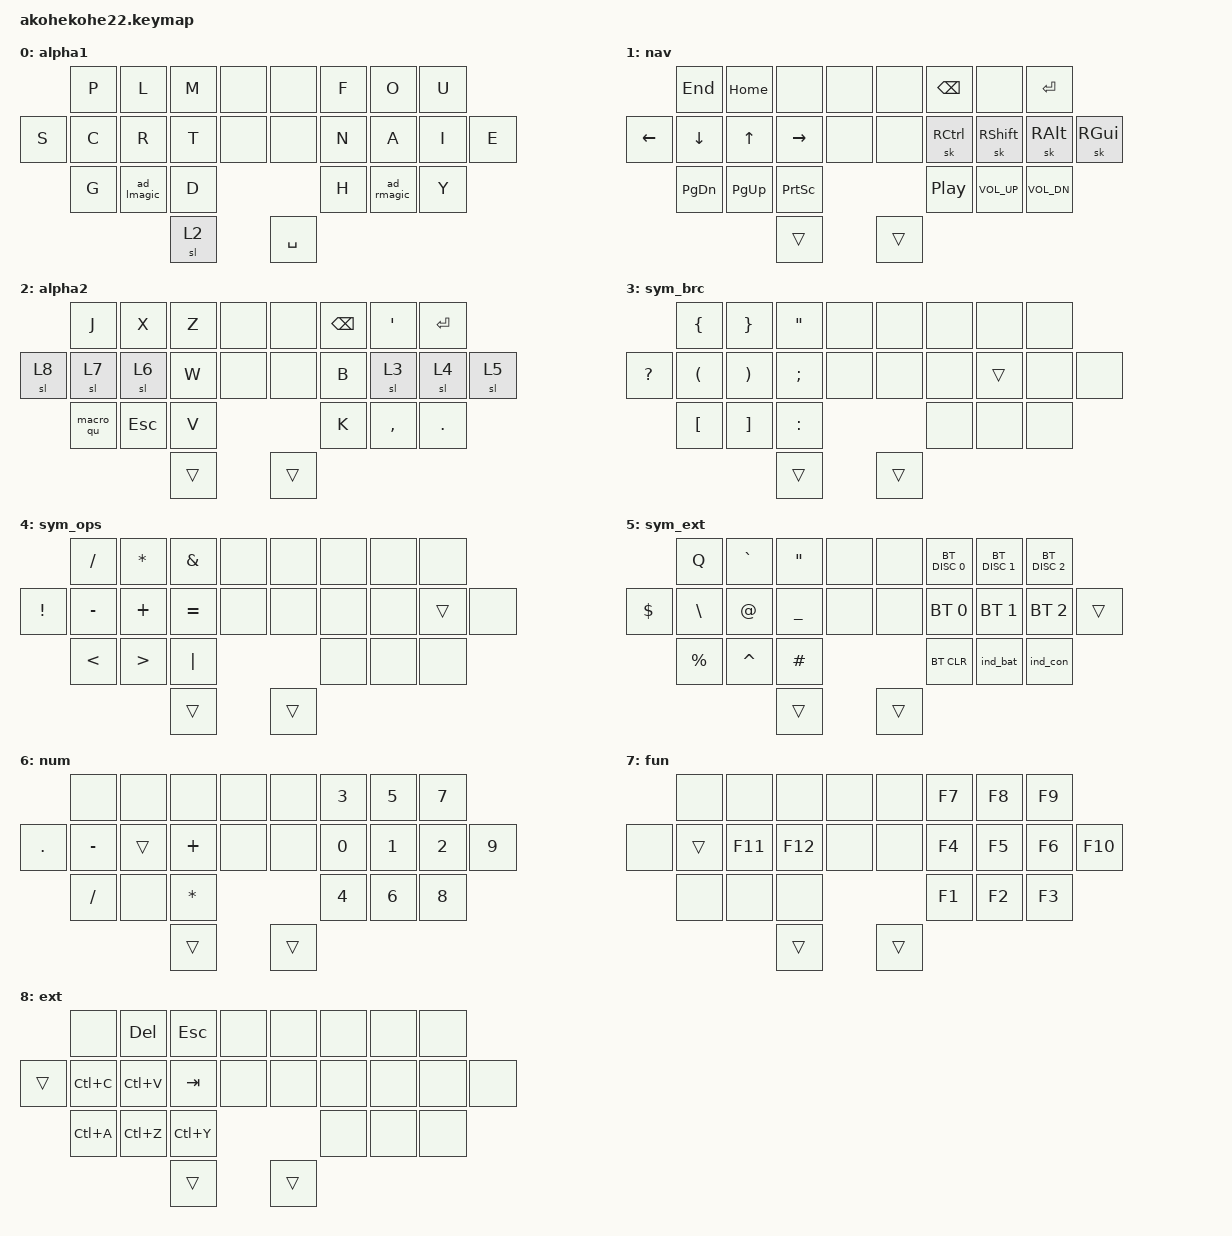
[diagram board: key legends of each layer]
/*
 * Copyright (c) 2024 The ZMK Contributors
 *
 * SPDX-License-Identifier: MIT
 */

#include <behaviors.dtsi>
#include <dt-bindings/zmk/bt.h>
#include <dt-bindings/zmk/keys.h>
#include <dt-bindings/zmk/outputs.h>
#include <behaviors/rgbled_widget.dtsi>

&soft_off { hold-time-ms = <1000>; };
&sl { release-after-ms = <350>; };
&sk { release-after-ms = <350>; quick-release; };
&caps_word { continue-list = <UNDER MINUS BSPC DEL>; };

/ {
    combos {
        compatible = "zmk,combos";
        timeout-ms = <50>;

        lbspc {
            key-positions = <11 20>;
            bindings = <&kp BSPC>;
        };

        lent {
            key-positions = <10 19>;
            bindings = <&kp ENTER>;
        };

        lgui {
            key-positions = <9 18>;
            bindings = <&kp LGUI>;
        };

        lalt {
            key-positions = <0 9>;
            bindings = <&sk LALT>;
        };

        lsft {
            key-positions = <1 10>;
            bindings = <&sk LSHFT>;
        };

        lctl {
            key-positions = <2 11>;
            bindings = <&sk LCTRL>;
        };

        rctl {
            key-positions = <5 14>;
            bindings = <&sk RCTRL>;
        };

        rsft {
            key-positions = <6 15>;
            bindings = <&sk RSHFT>;
        };

        ralt {
            key-positions = <7 16>;
            bindings = <&sk RALT>;
        };

        rgui {
            key-positions = <16 23>;
            bindings = <&kp RGUI>;
        };

        rent {
            key-positions = <15 22>;
            bindings = <&kp ENTER>;
        };

        rbspc {
            key-positions = <14 21>;
            bindings = <&kp BSPC>;
        };

        capsword {
            key-positions = <10 11 14 15>;
            bindings = <&caps_word>;
        };

        boot {
            key-positions = <0 2 5 7>;
            bindings = <&bootloader>;
        };

        soft_off {
            key-positions = <18 20 21 23>;
            bindings = <&soft_off>;
        };

        nav {
            key-positions = <24 25>;
            bindings = <&sl 1>;
            slow-release;
        };
    };

    macros {
        macro_qu: qu {
            compatible = "zmk,behavior-macro";
            #binding-cells = <0>;
            bindings = <&kp Q &kp U>;
        };

        macro_able: able {
            compatible = "zmk,behavior-macro";
            #binding-cells = <0>;
            bindings = <&kp B &kp L &kp E>;
        };

        macro_ion: ion {
            compatible = "zmk,behavior-macro";
            #binding-cells = <0>;
            bindings = <&kp O &kp N>;
        };

        macro_ing: ing {
            compatible = "zmk,behavior-macro";
            #binding-cells = <0>;
            bindings = <&kp N &kp G>;
        };

        macro_you: you {
            compatible = "zmk,behavior-macro";
            #binding-cells = <0>;
            bindings = <&kp O &kp U>;
        };

        macro_ying: ying {
            compatible = "zmk,behavior-macro";
            #binding-cells = <0>;
            bindings = <&kp I &kp N &kp G>;
        };

        macro_would: would {
            compatible = "zmk,behavior-macro";
            #binding-cells = <0>;
            bindings = <&kp O &kp U &kp L &kp D>;
        };

        macro_the: _the {
            compatible = "zmk,behavior-macro";
            #binding-cells = <0>;
            bindings = <&kp T &kp H &kp E>;
        };

        macro_for: _for {
            compatible = "zmk,behavior-macro";
            #binding-cells = <0>;
            bindings = <&kp F &kp O &kp R>;
        };
    };

    behaviors {
        ad_lmagic: adaptive_magic_left {
            compatible = "zmk,behavior-antecedent-morph";
            #binding-cells = <0>;
            defaults = <&key_repeat>;
            antecedents = <A C K E D U Y I N SPACE>;
            bindings = <&macro_able>, <&kp K>, <&kp N>, <&kp Y>, <&kp M>, <&kp Y>, <&macro_ying>, <&macro_ion>, <&kp F>, <&macro_for>;
        };

        ad_rmagic: adaptive_magic_right {
            compatible = "zmk,behavior-antecedent-morph";
            #binding-cells = <0>;
            defaults = <&key_repeat>;
            antecedents = <DOT I Y R W SPACE>;
            bindings = <&kp SLASH>, <&macro_ing>, <&macro_you>, <&kp L>, <&macro_would>, <&macro_the>;
        };
    };

    keymap {
        compatible = "zmk,keymap";

        alpha1 {
            bindings = <
                    &kp P           &kp L           &kp M           &none   &none           &kp F           &kp O           &kp U
        &kp S       &kp C           &kp R           &kp T           &none   &none           &kp N           &kp A           &kp I           &kp E
                    &kp G           &ad_lmagic      &kp D                                   &kp H           &ad_rmagic      &kp Y
                                                            &sl 2                   &kp SPACE
            >;
        };

        nav {
            bindings = <
                    &kp END         &kp HOME        &none           &none   &none           &kp BSPC        &none           &kp ENTER
        &kp LEFT    &kp DOWN        &kp UP          &kp RIGHT       &none   &none           &sk RCTRL       &sk RSHFT       &sk RALT        &sk RGUI
                    &kp PG_DN       &kp PG_UP       &kp PSCRN                               &kp C_PP        &kp C_VOL_UP    &kp C_VOL_DN
                                                            &trans                  &trans
            >;
        };

        alpha2 {
            bindings = <
                    &kp J           &kp X           &kp Z           &none   &none           &kp BSPC        &kp SQT         &kp ENTER
        &sl 8       &sl 7           &sl 6           &kp W           &none   &none           &kp B           &sl 3           &sl 4           &sl 5
                    &macro_qu       &kp ESC         &kp V                                   &kp K           &kp COMMA       &kp DOT
                                                            &trans                  &trans
            >;
        };

        sym_brc {
            bindings = <
                    &kp LBRC        &kp RBRC        &kp DQT         &none   &none           &none           &none           &none
        &kp QMARK   &kp LPAR        &kp RPAR        &kp SEMI        &none   &none           &none           &trans          &none           &none
                    &kp LBKT        &kp RBKT        &kp COLON                               &none           &none           &none
                                                            &trans                  &trans
            >;
        };

        sym_ops {
            bindings = <
                    &kp SLASH       &kp ASTRK       &kp AMPS        &none   &none           &none           &none           &none
        &kp EXCL    &kp MINUS       &kp PLUS        &kp EQUAL       &none   &none           &none           &none           &trans          &none
                    &kp LT          &kp GT          &kp PIPE                                &none           &none           &none
                                                            &trans                  &trans
            >;
        };

        sym_ext {
            bindings = <
                    &kp Q           &kp GRAVE       &kp DQT         &none   &none           &bt BT_DISC 0   &bt BT_DISC 1   &bt BT_DISC 2
        &kp DLLR    &kp BSLH        &kp AT          &kp UNDER       &none   &none           &bt BT_SEL 0    &bt BT_SEL 1    &bt BT_SEL 2    &trans
                    &kp PRCNT       &kp CARET       &kp HASH                                &bt BT_CLR      &ind_bat        &ind_con
                                                            &trans                  &trans
            >;
        };

        num {
            bindings = <
                    &none           &none           &none           &none   &none           &kp N3          &kp N5          &kp N7
        &kp DOT     &kp MINUS       &trans          &kp PLUS        &none   &none           &kp N0          &kp N1          &kp N2          &kp N9
                    &kp SLASH       &none           &kp ASTRK                               &kp N4          &kp N6          &kp N8
                                                            &trans                  &trans
            >;
        };

        fun {
            bindings = <
                    &none           &none           &none           &none   &none           &kp F7          &kp F8          &kp F9
        &none       &trans          &kp F11         &kp F12         &none   &none           &kp F4          &kp F5          &kp F6          &kp F10
                    &none           &none           &none                                   &kp F1          &kp F2          &kp F3
                                                            &trans                  &trans
            >;
        };

        ext {
            bindings = <
                    &none           &kp DEL         &kp ESC         &none   &none           &none           &none           &none
        &trans      &kp LC(C)       &kp LC(V)       &kp TAB         &none   &none           &none           &none           &none           &none
                    &kp LC(A)       &kp LC(Z)       &kp LC(Y)                               &none           &none           &none
                                                            &trans                  &trans
            >;
        };
    };
};
